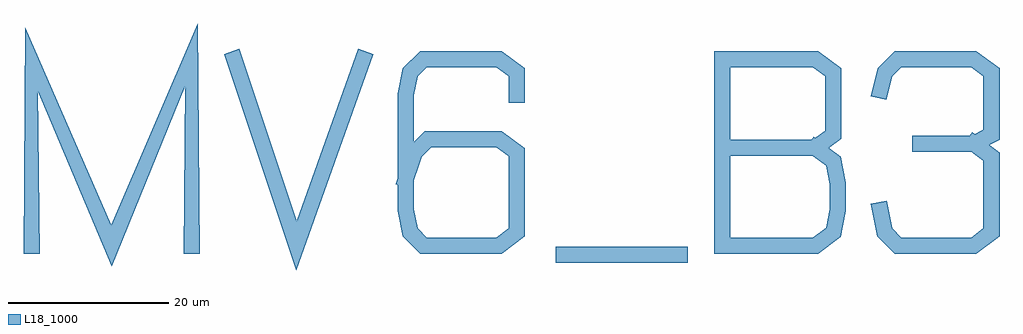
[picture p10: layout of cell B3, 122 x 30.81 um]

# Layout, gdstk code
import gdstk
lib = gdstk.Library(unit=1e-6, precision=1e-09)
L18_1000 = (18, 1000)

c_b3 = lib.new_cell('B3')
c_b3.add(gdstk.FlexPath([(-480.012,-306.995),(-480.012,-283.662),(-470.012,-306.995),(-460.012,-283.107),(-460.012,-306.995)], 2, ends="extended", simple_path=True, layer=18, datatype=1000))  # L18_1000
c_b3.add(gdstk.FlexPath([(-454.679,-283.662),(-446.902,-306.995),(-438.568,-283.662)], 2, ends="extended", simple_path=True, layer=18, datatype=1000))  # L18_1000
c_b3.add(gdstk.FlexPath([(-419.347,-288.107),(-419.347,-285.329),(-421.569,-283.662),(-431.013,-283.662),(-432.68,-285.329),(-433.235,-288.107),(-433.235,-302.551),(-432.68,-305.329),(-431.013,-306.995),(-421.569,-306.995),(-419.347,-305.329),(-419.347,-295.329),(-421.569,-293.662),(-430.458,-293.662),(-432.124,-295.329),(-433.235,-298.662)], 2, ends="extended", simple_path=True, layer=18, datatype=1000))  # L18_1000
c_b3.add(gdstk.FlexPath([(-413.458,-308.106),(-399.014,-308.106)], 2, ends="extended", simple_path=True, layer=18, datatype=1000))  # L18_1000
c_b3.add(gdstk.FlexPath([(-393.681,-306.995),(-393.681,-283.662),(-382.015,-283.662),(-379.793,-285.329),(-379.793,-287.551),(-379.793,-290.884),(-379.793,-293.107),(-382.015,-294.773),(-393.681,-294.773)], 2, ends="extended", simple_path=True, layer=18, datatype=1000))  # L18_1000
c_b3.add(gdstk.FlexPath([(-382.015,-294.773),(-379.793,-296.44),(-379.237,-299.218),(-379.237,-302.551),(-379.793,-305.329),(-382.015,-306.995),(-393.681,-306.995)], 2, ends="extended", simple_path=True, layer=18, datatype=1000))  # L18_1000
c_b3.add(gdstk.FlexPath([(-373.904,-287.551),(-373.349,-285.329),(-371.682,-283.662),(-362.238,-283.662),(-360.016,-285.329),(-360.016,-293.107),(-362.238,-294.218),(-368.904,-294.218)], 2, ends="extended", simple_path=True, layer=18, datatype=1000))  # L18_1000
c_b3.add(gdstk.FlexPath([(-362.238,-294.218),(-360.016,-295.884),(-360.016,-305.329),(-362.238,-306.995),(-371.682,-306.995),(-373.349,-305.329),(-373.904,-302.551)], 2, ends="extended", simple_path=True, layer=18, datatype=1000))  # L18_1000

lib.write_gds('B3.gds')
